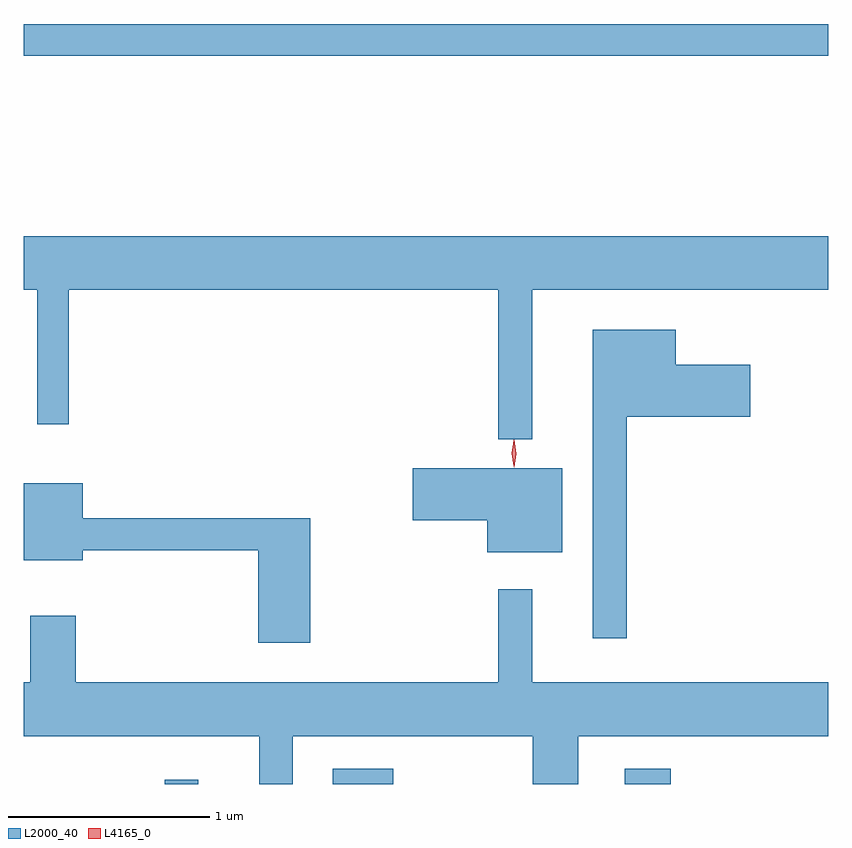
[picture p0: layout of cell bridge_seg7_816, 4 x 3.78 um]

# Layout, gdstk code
import gdstk
lib = gdstk.Library(unit=1e-6, precision=1e-09)
def R(c, l, rs):  # rectangles x0, y0, x1, y1
    for r in rs: c.add(gdstk.rectangle(r[:2], r[2:], *l))
def P(c, l, *ps):  # polygons
    for p in ps: c.add(gdstk.Polygon(p, *l))
L2000_40 = (2000, 40)
L4165_0 = (4165, 0)

bridge_seg7_816 = lib.new_cell('bridge_seg7_816')
R(bridge_seg7_816, L2000_40, [(281.771,1774.018,281.939,1774.038), (282.606,1774.018,282.909,1774.094), (284.061,1774.018,284.289,1774.094), (281.071,1777.641,285.071,1777.799)])
P(bridge_seg7_816, L2000_40, [(283.599,1776.476),(285.071,1776.476),(285.071,1776.744),(281.071,1776.744),(281.071,1776.476),(281.136,1776.476),(281.136,1775.808),(281.294,1775.808),(281.294,1776.476),(283.431,1776.476),(283.431,1775.733),(283.599,1775.733)],
  [(284.069,1775.846),(284.684,1775.846),(284.684,1776.104),(284.314,1776.104),(284.314,1776.279),(283.901,1776.279),(283.901,1774.743),(284.069,1774.743)],
  [(283.749,1775.589),(283.006,1775.589),(283.006,1775.331),(283.376,1775.331),(283.376,1775.171),(283.749,1775.171)],
  [(282.494,1775.339),(281.364,1775.339),(281.364,1775.514),(281.071,1775.514),(281.071,1775.131),(281.364,1775.131),(281.364,1775.181),(282.236,1775.181),(282.236,1774.721),(282.494,1774.721)],
  [(282.409,1774.256),(283.601,1774.256),(283.601,1774.018),(283.829,1774.018),(283.829,1774.256),(285.071,1774.256),(285.071,1774.524),(283.599,1774.524),(283.599,1774.988),(283.431,1774.988),(283.431,1774.524),(281.329,1774.524),(281.329,1774.854),(281.101,1774.854),(281.101,1774.524),(281.071,1774.524),(281.071,1774.256),(282.241,1774.256),(282.241,1774.018),(282.409,1774.018)])
P(bridge_seg7_816, L4165_0, [(283.508,1775.6),(283.508,1775.6),(283.498,1775.664),(283.508,1775.726),(283.508,1775.727),(283.509,1775.726),(283.518,1775.664),(283.509,1775.6)],
  [(283.509,1775.594),(283.499,1775.662),(283.508,1775.73),(283.508,1775.73),(283.509,1775.73),(283.519,1775.662),(283.51,1775.594),(283.51,1775.594)])

lib.write_gds('bridge_seg7_816.gds')
